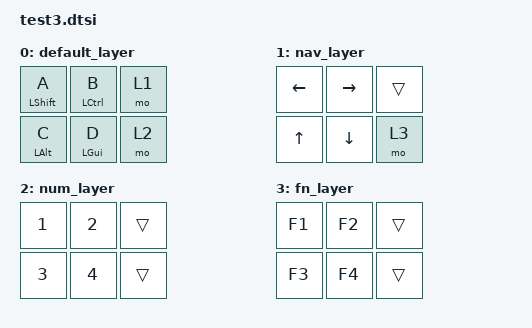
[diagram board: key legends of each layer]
#include <behaviors.dtsi>
#include <dt-bindings/zmk/keys.h>

/ {
    behaviors {
        ht: hold_tap {
            compatible = "zmk,behavior-hold-tap";
            #binding-cells = <2>;
            tapping-term-ms = <200>;
            quick-tap-ms = <150>;
            flavor = "tap-preferred";
            bindings = <&kp>, <&kp>;
        };
    };

    keymap {
        compatible = "zmk,keymap";
        default_layer {
            bindings = <
                &ht LSHIFT A &ht LCTRL B  &mo 1
                &ht LALT C   &ht LGUI D   &mo 2
            >;
        };
        
        nav_layer {
            bindings = <
                &kp LEFT  &kp RIGHT  &trans
                &kp UP    &kp DOWN   &mo 3
            >;
        };
        
        num_layer {
            bindings = <
                &kp N1    &kp N2     &trans
                &kp N3    &kp N4     &trans
            >;
        };
        
        fn_layer {
            bindings = <
                &kp F1    &kp F2     &trans
                &kp F3    &kp F4     &trans
            >;
        };
    };
}; 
